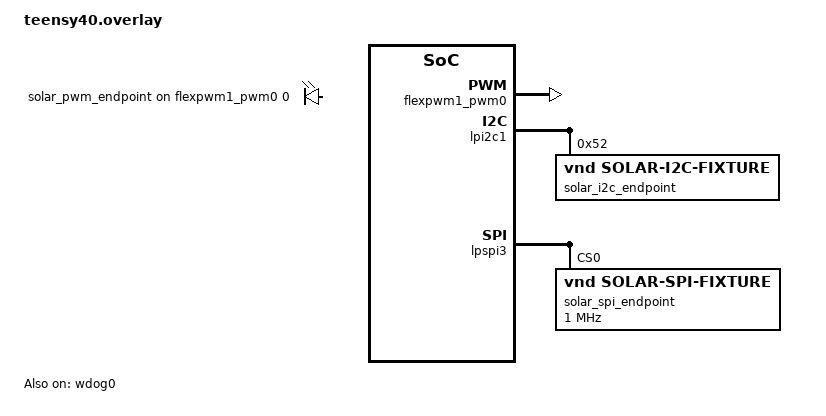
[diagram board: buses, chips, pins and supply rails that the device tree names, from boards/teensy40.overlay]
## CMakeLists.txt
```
cmake_minimum_required(VERSION 3.20.0)

list(APPEND ZEPHYR_EXTRA_MODULES ${CMAKE_CURRENT_LIST_DIR}/../../..)
list(APPEND DTS_ROOT ${CMAKE_CURRENT_LIST_DIR})

find_package(Zephyr REQUIRED HINTS $ENV{ZEPHYR_BASE})
project(solar_hardware_target_compile LANGUAGES CXX)

target_sources(app PRIVATE src/main.cpp)
target_compile_features(app PRIVATE cxx_std_23)
set_target_properties(app PROPERTIES CXX_EXTENSIONS OFF)
```

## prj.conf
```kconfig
CONFIG_CPP=y
CONFIG_STD_CPP23=y
CONFIG_REQUIRES_FULL_LIBCPP=y
CONFIG_CPP_EXCEPTIONS=n
CONFIG_CPP_RTTI=n
CONFIG_COMPILER_WARNINGS_AS_ERRORS=y
CONFIG_SERIAL=y
CONFIG_UART_INTERRUPT_DRIVEN=y
CONFIG_SPI=y
CONFIG_SPI_ASYNC=y
CONFIG_I2C=y
CONFIG_PWM=y
CONFIG_PWM_CAPTURE=y
CONFIG_WATCHDOG=y
CONFIG_SOLAR=y
CONFIG_SOLAR_HARDWARE=y
CONFIG_SOLAR_HARDWARE_GENERATE_DEVICETREE=y
```

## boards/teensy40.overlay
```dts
#include <zephyr/dt-bindings/pwm/pwm.h>

/ {
	aliases {
		solar-i2c = &solar_i2c_endpoint;
		solar-pwm = &solar_pwm_endpoint;
		solar-spi = &solar_spi_endpoint;
		solar-watchdog = &wdog0;
	};

	solar_pwm_fixture {
		compatible = "pwm-leds";

		solar_pwm_endpoint: solar-pwm-endpoint {
			pwms = <&flexpwm1_pwm0 0 20000 PWM_POLARITY_NORMAL>;
		};
	};
};

&flexpwm1_pwm0 {
	status = "okay";
};

&lpi2c1 {
	status = "okay";

	solar_i2c_endpoint: fixture@52 {
		compatible = "vnd,solar-i2c-fixture";
		reg = <0x52>;
	};
};

&lpspi3 {
	status = "okay";
	dmas = <&edma0 2 15>, <&edma0 3 16>;
	dma-names = "rx", "tx";

	solar_spi_endpoint: fixture@0 {
		compatible = "vnd,solar-spi-fixture";
		reg = <0>;
		spi-max-frequency = <1000000>;
	};
};

&wdog0 {
	status = "okay";
};
```

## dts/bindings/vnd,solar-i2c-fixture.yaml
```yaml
description: Solar addressed I2C endpoint fixture

compatible: "vnd,solar-i2c-fixture"

include: i2c-device.yaml
```

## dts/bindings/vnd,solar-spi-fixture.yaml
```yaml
description: Solar addressed SPI endpoint fixture

compatible: "vnd,solar-spi-fixture"

include: spi-device.yaml
```

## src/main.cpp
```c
#include <array>
#include <chrono>
#include <concepts>

#include <solar/hardware.hpp>

using Pwm = solar::hardware::pwm::Output<solar::hardware::dt::alias<"solar-pwm">>;
using PwmCapture = solar::hardware::pwm::Capture<solar::hardware::dt::alias<"solar-pwm">>;
using Spi = solar::hardware::spi::Endpoint<solar::hardware::dt::alias<"solar-spi">>;
using I2c = solar::hardware::i2c::Endpoint<solar::hardware::dt::alias<"solar-i2c">>;
using Watchdog = solar::hardware::watchdog::Device<solar::hardware::dt::alias<"solar-watchdog">>;
using Console =
    solar::hardware::uart::InterruptDriven<solar::hardware::dt::chosen<"zephyr,console">>;

static_assert(
    solar::hardware::dt::PwmDescriptorType<decltype(solar::hardware::dt::alias<"solar-pwm">)>);
static_assert(Pwm::descriptor().native.period == 20000);
static_assert(sizeof(PwmCapture) > 0);
static_assert(solar::hardware::pwm::DutyCycle::percent(101).parts_per_million > 1'000'000);
static_assert(
    solar::hardware::dt::SpiDescriptorType<decltype(solar::hardware::dt::alias<"solar-spi">)>);
static_assert(
    solar::hardware::dt::I2cDescriptorType<decltype(solar::hardware::dt::alias<"solar-i2c">)>);
static_assert(Spi::descriptor().native.config.frequency == 1'000'000);
static_assert(I2c::address() == 0x52);
static_assert(sizeof(Spi::Operation) > 0);
static_assert(Watchdog::descriptor().identity.endpoint_kind ==
              solar::hardware::EndpointKind::Watchdog);
static_assert(Console::descriptor().identity.endpoint_kind == solar::hardware::EndpointKind::Uart);
static_assert(!std::copy_constructible<
              solar::hardware::watchdog::Channel<solar::hardware::dt::alias<"solar-watchdog">>>);

[[maybe_unused]] solar::Result<void, solar::hardware::Error> exercise_pwm()
{
    using namespace std::chrono_literals;
    return Pwm::set(20us, 5us);
}

[[maybe_unused]] solar::Result<void, solar::hardware::Error> exercise_buses()
{
    std::array<std::byte, 1> bytes{};
    if (auto spi = Spi::transceive(bytes, bytes); !spi) {
        return spi;
    }
    return I2c::write(bytes);
}

[[maybe_unused]] solar::Result<
    solar::hardware::watchdog::Channel<solar::hardware::dt::alias<"solar-watchdog">>,
    solar::hardware::Error>
exercise_watchdog()
{
    using namespace std::chrono_literals;
    return Watchdog::install(solar::hardware::watchdog::Timeout::window(0ms, 1000ms));
}

int main()
{
    return Pwm::ready() && Watchdog::ready() && Console::ready() ? 0 : -1;
}
```
